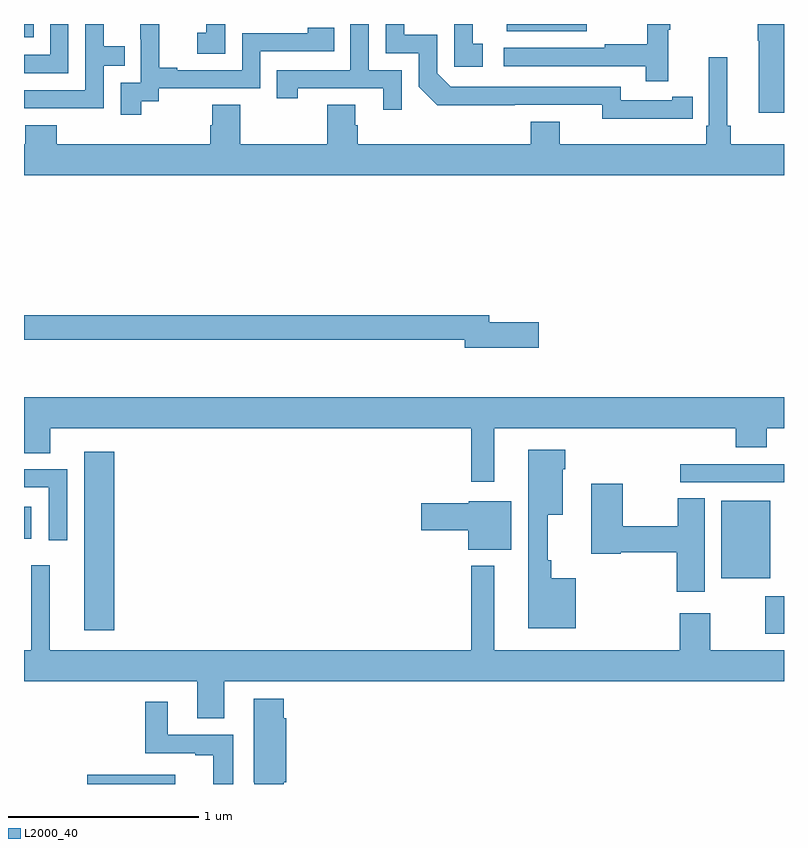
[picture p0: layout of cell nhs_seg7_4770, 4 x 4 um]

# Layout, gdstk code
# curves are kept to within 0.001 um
import gdstk
lib = gdstk.Library(unit=1e-6, precision=1e-09)
def R(c, l, rs):  # rectangles x0, y0, x1, y1
    for r in rs: c.add(gdstk.rectangle(r[:2], r[2:], *l))
def P(c, l, *ps):  # polygons
    for p in ps: c.add(gdstk.Polygon(p, *l))
L2000_40 = (2000, 40)

nhs_seg7_4770 = lib.new_cell('nhs_seg7_4770')
R(nhs_seg7_4770, L2000_40, [(412.9,1076.79,413,1076.988), (409.316,1076.808,409.475,1077.748), (412.67,1077.083,412.927,1077.49), (409,1077.29,409.039,1077.46), (412.455,1077.588,413,1077.684), (409,1079.93,409.052,1080), (411.542,1079.963,411.961,1080)])
P(nhs_seg7_4770, L2000_40, [(409.233,1080),(409.137,1080),(409.137,1079.838),(409,1079.838),(409,1079.742),(409.233,1079.742)],
  [(411.415,1079.895),(411.362,1079.895),(411.362,1080),(411.264,1080),(411.264,1079.775),(411.415,1079.775)],
  [(409.419,1079.781),(409.529,1079.781),(409.529,1079.882),(409.419,1079.882),(409.419,1080),(409.323,1080),(409.323,1079.652),(409,1079.652),(409,1079.556),(409.419,1079.556)],
  [(412.412,1079.502),(412.52,1079.502),(412.52,1079.618),(412.412,1079.618),(412.412,1079.598),(412.14,1079.598),(412.14,1079.67),(411.246,1079.67),(411.174,1079.742),(411.174,1079.943),(411.001,1079.943),(411.001,1080),(410.904,1080),(410.904,1079.847),(411.078,1079.847),(411.078,1079.67),(411.176,1079.573),(412.044,1079.574),(412.044,1079.501)],
  [(409.618,1079.593),(409.71,1079.593),(409.71,1079.661),(410.244,1079.661),(410.244,1079.856),(410.633,1079.856),(410.633,1079.979),(410.493,1079.979),(410.493,1079.952),(410.148,1079.952),(410.148,1079.757),(409.807,1079.757),(409.807,1079.77),(409.712,1079.77),(409.712,1080),(409.613,1080),(409.613,1079.921),(409.614,1079.921),(409.614,1079.691),(409.509,1079.691),(409.509,1079.523),(409.618,1079.523)],
  [(413,1080),(412.861,1080),(412.861,1079.911),(412.868,1079.911),(412.868,1079.532),(413,1079.532)],
  [(410.058,1080),(409.96,1080),(409.96,1079.953),(409.911,1079.953),(409.911,1079.844),(410.058,1079.844)],
  [(410.988,1079.757),(410.814,1079.757),(410.814,1080),(410.718,1080),(410.718,1079.757),(410.329,1079.757),(410.329,1079.61),(410.44,1079.61),(410.44,1079.661),(410.891,1079.661),(410.891,1079.55),(410.988,1079.55)],
  [(412.391,1079.971),(412.402,1079.971),(412.402,1080),(412.281,1080),(412.281,1079.894),(412.057,1079.894),(412.057,1079.874),(411.525,1079.874),(411.525,1079.778),(412.273,1079.778),(412.273,1079.7),(412.391,1079.7)],
  [(413,1079.368),(412.721,1079.368),(412.721,1079.464),(412.702,1079.464),(412.702,1079.824),(412.605,1079.824),(412.605,1079.464),(412.592,1079.464),(412.592,1079.368),(411.82,1079.368),(411.82,1079.485),(411.668,1079.485),(411.668,1079.368),(410.756,1079.368),(410.756,1079.466),(410.743,1079.466),(410.743,1079.576),(410.596,1079.576),(410.596,1079.368),(410.139,1079.368),(410.139,1079.576),(409.991,1079.576),(409.991,1079.466),(409.979,1079.466),(409.979,1079.368),(409.172,1079.368),(409.172,1079.467),(409.007,1079.467),(409.007,1079.368),(409,1079.368),(409,1079.204),(413,1079.204)],
  [(411.709,1078.43),(411.448,1078.43),(411.448,1078.466),(409,1078.466),(409,1078.338),(411.32,1078.338),(411.32,1078.295),(411.709,1078.295)],
  [(411.475,1077.872),(412.745,1077.872),(412.745,1077.773),(412.91,1077.773),(412.91,1077.872),(413,1077.872),(413,1078.036),(409,1078.036),(409,1077.742),(409.138,1077.742),(409.138,1077.872),(411.354,1077.872),(411.354,1077.591),(411.475,1077.591)],
  [(411.904,1077.082),(411.775,1077.082),(411.775,1077.178),(411.757,1077.178),(411.757,1077.416),(411.835,1077.416),(411.835,1077.656),(411.848,1077.656),(411.848,1077.76),(411.653,1077.76),(411.653,1076.819),(411.904,1076.819)],
  [(409.227,1077.657),(409,1077.657),(409,1077.561),(409.131,1077.561),(409.131,1077.282),(409.227,1077.282)],
  [(412.582,1077.503),(412.441,1077.503),(412.441,1077.356),(412.152,1077.356),(412.152,1077.58),(411.986,1077.58),(411.986,1077.212),(412.14,1077.212),(412.14,1077.22),(412.436,1077.22),(412.436,1077.012),(412.582,1077.012)],
  [(411.565,1077.487),(411.342,1077.487),(411.342,1077.477),(411.09,1077.477),(411.09,1077.335),(411.338,1077.335),(411.338,1077.233),(411.565,1077.233)],
  [(410.053,1076.54),(413,1076.54),(413,1076.704),(412.611,1076.704),(412.611,1076.899),(412.451,1076.899),(412.451,1076.704),(411.475,1076.704),(411.475,1077.148),(411.354,1077.148),(411.354,1076.704),(409.136,1076.704),(409.136,1077.151),(409.037,1077.151),(409.037,1076.704),(409,1076.704),(409,1076.54),(409.913,1076.54),(409.913,1076.346),(410.053,1076.346)],
  [(410.366,1076.01),(410.381,1076.01),(410.381,1076.346),(410.366,1076.346),(410.366,1076.449),(410.21,1076.449),(410.21,1076.01),(410.213,1076.01),(410.213,1076),(410.366,1076)],
  [(410.101,1076.259),(409.756,1076.259),(409.756,1076.434),(409.639,1076.434),(409.639,1076.163),(409.901,1076.163),(409.901,1076.151),(409.997,1076.151),(409.997,1076),(410.101,1076)],
  [(409.795,1076.05),(409.563,1076.05),(409.563,1076.048),(409.332,1076.048),(409.332,1076),(409.795,1076)])

lib.write_gds('nhs_seg7_4770.gds')
